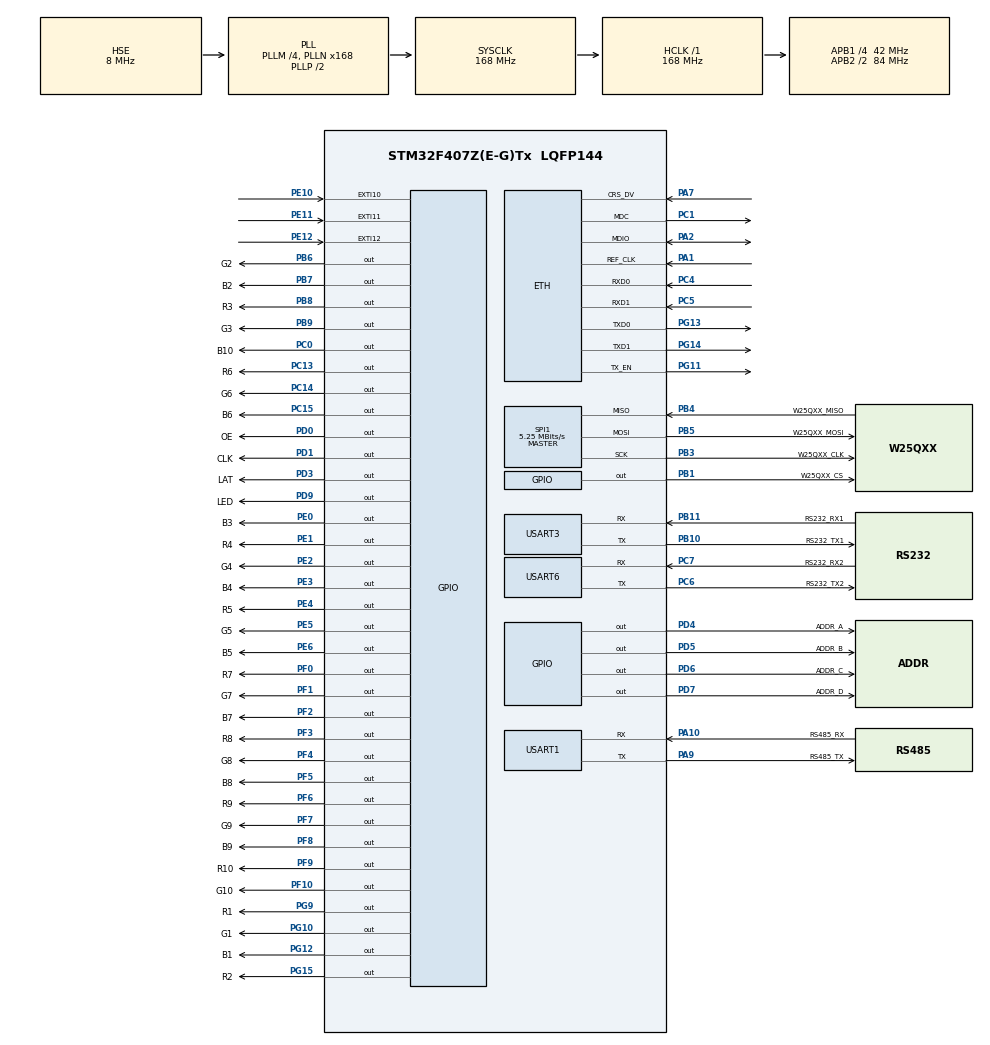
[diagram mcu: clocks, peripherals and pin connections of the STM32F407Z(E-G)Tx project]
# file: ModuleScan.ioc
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Dma.Request0=USART1_RX
Dma.Request1=USART3_RX
Dma.Request2=USART6_RX
Dma.Request3=SPI1_RX
Dma.Request4=SPI1_TX
Dma.SPI1_RX.3.Direction=DMA_PERIPH_TO_MEMORY
Dma.SPI1_RX.3.FIFOMode=DMA_FIFOMODE_DISABLE
Dma.SPI1_RX.3.Instance=DMA2_Stream0
Dma.SPI1_RX.3.MemDataAlignment=DMA_MDATAALIGN_BYTE
Dma.SPI1_RX.3.MemInc=DMA_MINC_ENABLE
Dma.SPI1_RX.3.Mode=DMA_NORMAL
Dma.SPI1_RX.3.PeriphDataAlignment=DMA_PDATAALIGN_BYTE
Dma.SPI1_RX.3.PeriphInc=DMA_PINC_DISABLE
Dma.SPI1_RX.3.Priority=DMA_PRIORITY_LOW
Dma.SPI1_TX.4.Direction=DMA_MEMORY_TO_PERIPH
Dma.SPI1_TX.4.FIFOMode=DMA_FIFOMODE_DISABLE
Dma.SPI1_TX.4.Instance=DMA2_Stream3
Dma.SPI1_TX.4.MemDataAlignment=DMA_MDATAALIGN_BYTE
Dma.SPI1_TX.4.MemInc=DMA_MINC_ENABLE
Dma.SPI1_TX.4.Mode=DMA_NORMAL
Dma.SPI1_TX.4.PeriphDataAlignment=DMA_PDATAALIGN_BYTE
Dma.SPI1_TX.4.PeriphInc=DMA_PINC_DISABLE
Dma.SPI1_TX.4.Priority=DMA_PRIORITY_LOW
Dma.USART1_RX.0.Direction=DMA_PERIPH_TO_MEMORY
Dma.USART1_RX.0.FIFOMode=DMA_FIFOMODE_DISABLE
Dma.USART1_RX.0.Instance=DMA2_Stream2
Dma.USART1_RX.0.MemDataAlignment=DMA_MDATAALIGN_BYTE
Dma.USART1_RX.0.MemInc=DMA_MINC_ENABLE
Dma.USART1_RX.0.Mode=DMA_CIRCULAR
Dma.USART1_RX.0.PeriphDataAlignment=DMA_PDATAALIGN_BYTE
Dma.USART1_RX.0.PeriphInc=DMA_PINC_DISABLE
Dma.USART1_RX.0.Priority=DMA_PRIORITY_LOW
Dma.USART3_RX.1.Direction=DMA_PERIPH_TO_MEMORY
Dma.USART3_RX.1.FIFOMode=DMA_FIFOMODE_DISABLE
Dma.USART3_RX.1.Instance=DMA1_Stream1
Dma.USART3_RX.1.MemDataAlignment=DMA_MDATAALIGN_BYTE
Dma.USART3_RX.1.MemInc=DMA_MINC_ENABLE
Dma.USART3_RX.1.Mode=DMA_CIRCULAR
Dma.USART3_RX.1.PeriphDataAlignment=DMA_PDATAALIGN_BYTE
Dma.USART3_RX.1.PeriphInc=DMA_PINC_DISABLE
Dma.USART3_RX.1.Priority=DMA_PRIORITY_LOW
Dma.USART6_RX.2.Direction=DMA_PERIPH_TO_MEMORY
Dma.USART6_RX.2.FIFOMode=DMA_FIFOMODE_DISABLE
Dma.USART6_RX.2.Instance=DMA2_Stream1
Dma.USART6_RX.2.MemDataAlignment=DMA_MDATAALIGN_BYTE
Dma.USART6_RX.2.MemInc=DMA_MINC_ENABLE
Dma.USART6_RX.2.Mode=DMA_CIRCULAR
Dma.USART6_RX.2.PeriphDataAlignment=DMA_PDATAALIGN_BYTE
Dma.USART6_RX.2.PeriphInc=DMA_PINC_DISABLE
Dma.USART6_RX.2.Priority=DMA_PRIORITY_LOW
ETH.MediaInterface=HAL_ETH_RMII_MODE
FREERTOS.Tasks01=initTask,24,256,InitailizeTask,Default,NULL,Dynamic,NULL,NULL
LWIP.BSP.number=1
LWIP.GATEWAY_ADDRESS=192.168.114.001
LWIP.IP_ADDRESS=192.168.114.200
LWIP.LWIP_DHCP=0
LWIP.LWIP_TCPIP_TIMEOUT=1
LWIP.LWIP_TCP_KEEPALIVE=1
LWIP.MEM_SIZE=10*1024
LWIP.NETMASK_ADDRESS=255.255.255.000
LWIP.Version=v2.1.2_Cube
LWIP0.BSP.STBoard=false
LWIP0.BSP.api=BSP_COMPONENT_DRIVER
LWIP0.BSP.component=DP83848
LWIP0.BSP.instance=DP83848
LWIP0.BSP.name=Driver_PHY
LWIP0.BSP.semaphore=S_DP83848
LWIP0.BSP.solution=DP83848
Mcu.Family=STM32F4
Mcu.Name=STM32F407Z(E-G)Tx
Mcu.Package=LQFP144
NVIC.DMA1_Stream1_IRQn=true\:5\:0\:false\:false\:true\:true\:false\:true\:true
NVIC.DMA2_Stream0_IRQn=true\:5\:0\:false\:false\:true\:true\:false\:true\:true
NVIC.DMA2_Stream1_IRQn=true\:5\:0\:false\:false\:true\:true\:false\:true\:true
NVIC.DMA2_Stream2_IRQn=true\:5\:0\:false\:false\:true\:true\:false\:true\:true
NVIC.DMA2_Stream3_IRQn=true\:5\:0\:false\:false\:true\:true\:false\:true\:true
NVIC.ETH_IRQn=true\:5\:0\:false\:false\:true\:true\:false\:true\:true
NVIC.EXTI15_10_IRQn=true\:5\:0\:true\:false\:true\:true\:true\:true\:true
NVIC.PriorityGroup=NVIC_PRIORITYGROUP_4
NVIC.SPI1_IRQn=true\:5\:0\:false\:false\:true\:true\:true\:true\:true
NVIC.TIM3_IRQn=true\:7\:0\:true\:false\:true\:true\:true\:true\:true
NVIC.TIM4_IRQn=true\:6\:0\:true\:false\:true\:true\:true\:true\:true
NVIC.TIM7_IRQn=true\:15\:0\:false\:false\:true\:false\:false\:true\:true
NVIC.TimeBase=TIM7_IRQn
NVIC.TimeBaseIP=TIM7
NVIC.USART1_IRQn=true\:5\:0\:false\:false\:true\:true\:true\:true\:true
NVIC.USART3_IRQn=true\:5\:0\:false\:false\:true\:true\:true\:true\:true
NVIC.USART6_IRQn=true\:5\:0\:false\:false\:true\:true\:true\:true\:true
PA1.Mode=RMII
PA1.Signal=ETH_REF_CLK
PA10.GPIO_Label=RS485_RX
PA10.Mode=Asynchronous
PA10.Signal=USART1_RX
PA13.Mode=Serial_Wire
PA13.Signal=SYS_JTMS-SWDIO
PA14.Mode=Serial_Wire
PA14.Signal=SYS_JTCK-SWCLK
PA2.Mode=RMII
PA2.Signal=ETH_MDIO
PA7.Mode=RMII
PA7.Signal=ETH_CRS_DV
PA9.GPIO_Label=RS485_TX
PA9.Mode=Asynchronous
PA9.Signal=USART1_TX
PB1.GPIO_Label=W25QXX_CS
PB1.Signal=GPIO_Output
PB10.GPIO_Label=RS232_TX1
PB10.Mode=Asynchronous
PB10.Signal=USART3_TX
PB11.GPIO_Label=RS232_RX1
PB11.Mode=Asynchronous
PB11.Signal=USART3_RX
PB3.GPIO_Label=W25QXX_CLK
PB3.Mode=Full_Duplex_Master
PB3.Signal=SPI1_SCK
PB4.GPIO_Label=W25QXX_MISO
PB4.Mode=Full_Duplex_Master
PB4.Signal=SPI1_MISO
PB5.GPIO_Label=W25QXX_MOSI
PB5.Mode=Full_Duplex_Master
PB5.Signal=SPI1_MOSI
PB6.GPIO_Label=G2
PB6.Signal=GPIO_Output
PB7.GPIO_Label=B2
PB7.Signal=GPIO_Output
PB8.GPIO_Label=R3
PB8.Signal=GPIO_Output
PB9.GPIO_Label=G3
PB9.Signal=GPIO_Output
PC0.GPIO_Label=B10
PC0.Signal=GPIO_Output
PC1.Mode=RMII
PC1.Signal=ETH_MDC
PC13-ANTI_TAMP.GPIO_Label=R6
PC13-ANTI_TAMP.Signal=GPIO_Output
PC14-OSC32_IN.GPIO_Label=G6
PC14-OSC32_IN.Signal=GPIO_Output
PC15-OSC32_OUT.GPIO_Label=B6
PC15-OSC32_OUT.Signal=GPIO_Output
PC4.Mode=RMII
PC4.Signal=ETH_RXD0
PC5.Mode=RMII
PC5.Signal=ETH_RXD1
PC6.GPIO_Label=RS232_TX2
PC6.Mode=Asynchronous
PC6.Signal=USART6_TX
PC7.GPIO_Label=RS232_RX2
PC7.Mode=Asynchronous
PC7.Signal=USART6_RX
PD0.GPIO_Label=OE
PD0.Signal=GPIO_Output
PD1.GPIO_Label=CLK
PD1.Signal=GPIO_Output
PD3.GPIO_Label=LAT
PD3.Signal=GPIO_Output
PD4.GPIO_Label=ADDR_A
PD4.Signal=GPIO_Output
PD5.GPIO_Label=ADDR_B
PD5.Signal=GPIO_Output
PD6.GPIO_Label=ADDR_C
PD6.Signal=GPIO_Output
PD7.GPIO_Label=ADDR_D
PD7.Signal=GPIO_Output
PD9.GPIO_Label=LED
PD9.Signal=GPIO_Output
PE0.GPIO_Label=B3
PE0.Signal=GPIO_Output
PE1.GPIO_Label=R4
PE1.Signal=GPIO_Output
PE10.GPIO_ModeDefaultEXTI=GPIO_MODE_IT_FALLING
PE10.GPIO_PuPd=GPIO_PULLUP
PE10.Signal=GPXTI10
PE11.GPIO_ModeDefaultEXTI=GPIO_MODE_IT_FALLING
PE11.GPIO_PuPd=GPIO_PULLUP
PE11.Signal=GPXTI11
PE12.GPIO_ModeDefaultEXTI=GPIO_MODE_IT_FALLING
PE12.GPIO_PuPd=GPIO_PULLUP
PE12.Signal=GPXTI12
PE2.GPIO_Label=G4
PE2.Signal=GPIO_Output
PE3.GPIO_Label=B4
PE3.Signal=GPIO_Output
PE4.GPIO_Label=R5
PE4.Signal=GPIO_Output
PE5.GPIO_Label=G5
PE5.Signal=GPIO_Output
PE6.GPIO_Label=B5
PE6.Signal=GPIO_Output
PF0.GPIO_Label=R7
PF0.Signal=GPIO_Output
PF1.GPIO_Label=G7
PF1.Signal=GPIO_Output
PF10.GPIO_Label=G10
PF10.Signal=GPIO_Output
PF2.GPIO_Label=B7
PF2.Signal=GPIO_Output
PF3.GPIO_Label=R8
PF3.Signal=GPIO_Output
PF4.GPIO_Label=G8
PF4.Signal=GPIO_Output
PF5.GPIO_Label=B8
PF5.Signal=GPIO_Output
PF6.GPIO_Label=R9
PF6.Signal=GPIO_Output
PF7.GPIO_Label=G9
PF7.Signal=GPIO_Output
PF8.GPIO_Label=B9
PF8.Signal=GPIO_Output
PF9.GPIO_Label=R10
PF9.Signal=GPIO_Output
PG10.GPIO_Label=G1
PG10.Signal=GPIO_Output
PG11.Mode=RMII
PG11.Signal=ETH_TX_EN
PG12.GPIO_Label=B1
PG12.Signal=GPIO_Output
PG13.Mode=RMII
PG13.Signal=ETH_TXD0
PG14.Mode=RMII
PG14.Signal=ETH_TXD1
PG15.GPIO_Label=R2
PG15.Signal=GPIO_Output
PG9.GPIO_Label=R1
PG9.Signal=GPIO_Output
PH0-OSC_IN.Mode=HSE-External-Oscillator
PH0-OSC_IN.Signal=RCC_OSC_IN
PH1-OSC_OUT.Mode=HSE-External-Oscillator
PH1-OSC_OUT.Signal=RCC_OSC_OUT
ProjectManager.HeapSize=0x200
ProjectManager.StackSize=0x080
ProjectManager.TargetToolchain=Makefile
RCC.48MHZClocksFreq_Value=84000000
RCC.AHBFreq_Value=168000000
RCC.APB1CLKDivider=RCC_HCLK_DIV4
RCC.APB1Freq_Value=42000000
RCC.APB1TimFreq_Value=84000000
RCC.APB2CLKDivider=RCC_HCLK_DIV2
RCC.APB2Freq_Value=84000000
RCC.APB2TimFreq_Value=168000000
RCC.CortexFreq_Value=168000000
RCC.HCLKFreq_Value=168000000
RCC.HSE_VALUE=8000000
RCC.HSI_VALUE=16000000
RCC.LSE_VALUE=32768
RCC.PLLM=4
RCC.PLLN=168
RCC.PLLSourceVirtual=RCC_PLLSOURCE_HSE
RCC.SYSCLKFreq_VALUE=168000000
RCC.SYSCLKSource=RCC_SYSCLKSOURCE_PLLCLK
RCC.VCOOutputFreq_Value=336000000
SPI1.BaudRatePrescaler=SPI_BAUDRATEPRESCALER_16
SPI1.CalculateBaudRate=5.25 MBits/s
SPI1.Direction=SPI_DIRECTION_2LINES
SPI1.Mode=SPI_MODE_MASTER
SPI1.VirtualType=VM_MASTER
TIM3.AutoReloadPreload=TIM_AUTORELOAD_PRELOAD_ENABLE
TIM3.Period=1000-1
TIM3.Prescaler=84-1
TIM4.AutoReloadPreload=TIM_AUTORELOAD_PRELOAD_ENABLE
TIM4.Period=10-1
TIM4.Prescaler=84-1
USART1.VirtualMode=VM_ASYNC
USART3.VirtualMode=VM_ASYNC
USART6.VirtualMode=VM_ASYNC
VP_FREERTOS_VS_CMSIS_V2.Mode=CMSIS_V2
VP_LWIP_VS_Enabled.Mode=Enabled
VP_SYS_VS_tim7.Mode=TIM7
VP_TIM3_VS_ClockSourceINT.Mode=Internal
VP_TIM4_VS_ClockSourceINT.Mode=Internal
board=custom

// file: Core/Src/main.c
/* USER CODE BEGIN Header */
/**
 ******************************************************************************
 * @file           : main.c
 * @brief          : Main program body
 ******************************************************************************
 * @attention
 *
 * Copyright (c) 2025 STMicroelectronics.
 * All rights reserved.
 *
 * This software is licensed under terms that can be found in the LICENSE file
 * in the root directory of this software component.
 * If no LICENSE file comes with this software, it is provided AS-IS.
 *
 ******************************************************************************
 */
/* USER CODE END Header */
#include "main.h"
#include "cmsis_os.h"
#include "dma.h"
#include "lwip.h"
#include "spi.h"
#include "tim.h"
#include "usart.h"
#include "gpio.h"

/* USER CODE BEGIN Includes */
#include "hub75.h"
#include "display.h"
/* USER CODE END Includes */

void SystemClock_Config(void);
void MX_FREERTOS_Init(void);

int main(void)
{

    /* MCU Configuration--------------------------------------------------------*/

    /* Reset of all peripherals, Initializes the Flash interface and the Systick. */
    HAL_Init();

    /* Configure the system clock */
    SystemClock_Config();

    /* Initialize all configured peripherals */
    MX_GPIO_Init();
    MX_DMA_Init();
    MX_TIM3_Init();
    MX_TIM4_Init();
    MX_USART1_UART_Init();
    MX_USART3_UART_Init();
    MX_USART6_UART_Init();
    MX_SPI1_Init();

    /* Init scheduler */
    osKernelInitialize(); /* Call init function for freertos objects (in cmsis_os2.c) */
    MX_FREERTOS_Init();

    /* Start scheduler */
    osKernelStart();

    /* We should never get here as control is now taken by the scheduler */

    /* Infinite loop */
    while (1) {

    }
}

void SystemClock_Config(void)
{
    RCC_OscInitTypeDef RCC_OscInitStruct = {0};
    RCC_ClkInitTypeDef RCC_ClkInitStruct = {0};

    /** Configure the main internal regulator output voltage
     */
    __HAL_RCC_PWR_CLK_ENABLE();
    __HAL_PWR_VOLTAGESCALING_CONFIG(PWR_REGULATOR_VOLTAGE_SCALE1);

    /** Initializes the RCC Oscillators according to the specified parameters
     * in the RCC_OscInitTypeDef structure.
     */
    RCC_OscInitStruct.OscillatorType = RCC_OSCILLATORTYPE_HSE;
    RCC_OscInitStruct.HSEState       = RCC_HSE_ON;
    RCC_OscInitStruct.PLL.PLLState   = RCC_PLL_ON;
    RCC_OscInitStruct.PLL.PLLSource  = RCC_PLLSOURCE_HSE;
    RCC_OscInitStruct.PLL.PLLM       = 4;
    RCC_OscInitStruct.PLL.PLLN       = 168;
    RCC_OscInitStruct.PLL.PLLP       = RCC_PLLP_DIV2;
    RCC_OscInitStruct.PLL.PLLQ       = 4;
    if (HAL_RCC_OscConfig(&RCC_OscInitStruct) != HAL_OK) {
        Error_Handler();
    }

    /** Initializes the CPU, AHB and APB buses clocks
     */
    RCC_ClkInitStruct.ClockType      = RCC_CLOCKTYPE_HCLK | RCC_CLOCKTYPE_SYSCLK | RCC_CLOCKTYPE_PCLK1 | RCC_CLOCKTYPE_PCLK2;
    RCC_ClkInitStruct.SYSCLKSource   = RCC_SYSCLKSOURCE_PLLCLK;
    RCC_ClkInitStruct.AHBCLKDivider  = RCC_SYSCLK_DIV1;
    RCC_ClkInitStruct.APB1CLKDivider = RCC_HCLK_DIV4;
    RCC_ClkInitStruct.APB2CLKDivider = RCC_HCLK_DIV2;

    if (HAL_RCC_ClockConfig(&RCC_ClkInitStruct, FLASH_LATENCY_5) != HAL_OK) {
        Error_Handler();
    }
}

void HAL_TIM_PeriodElapsedCallback(TIM_HandleTypeDef *htim)
{
    /* USER CODE BEGIN Callback 0 */
    if (htim->Instance == TIM3) {
        send_hub75_buff();

    } else if (htim->Instance == TIM4) {
        pwm_light_handle();
    }
    /* USER CODE END Callback 0 */
    if (htim->Instance == TIM7) {
        HAL_IncTick();
    }
}

void Error_Handler(void)
{
    __disable_irq();
    while (1) {
    }
}

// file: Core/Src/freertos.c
/* USER CODE BEGIN Header */
/**
 ******************************************************************************
 * File Name          : freertos.c
 * Description        : Code for freertos applications
 ******************************************************************************
 * @attention
 *
 * Copyright (c) 2025 STMicroelectronics.
 * All rights reserved.
 *
 * This software is licensed under terms that can be found in the LICENSE file
 * in the root directory of this software component.
 * If no LICENSE file comes with this software, it is provided AS-IS.
 *
 ******************************************************************************
 */
/* USER CODE END Header */

#include "FreeRTOS.h"
#include "task.h"
#include "main.h"
#include "cmsis_os.h"

/* USER CODE BEGIN Includes */
#include "tim.h"
#include "spi.h"
#include "w25qxx.h"
#include "hub75.h"
#include "render.h"
/* USER CODE END Includes */

/* USER CODE BEGIN PD */
#define IPADDR 8 * 1024 * 1024 - 20
/* USER CODE END PD */

/* USER CODE BEGIN Variables */
osThreadId_t HalfSecTaskHandle;
const osThreadAttr_t HalfSecTask_attributes = {
    .name       = "HalfSecTask",
    .stack_size = 128 * 4,
    .priority   = (osPriority_t)osPriorityNormal,
};

osThreadId_t PointTestTaskHandle;
const osThreadAttr_t PointTestTask_attributes = {
    .name       = "PointTestTask",
    .stack_size = 1024 * 4,
    .priority   = (osPriority_t)osPriorityAboveNormal,
};

osThreadId_t RefreshTaskHandle;
const osThreadAttr_t RefreshTask_attributes = {
    .name       = "RefreshTask",
    .stack_size = 512 * 4,
    .priority   = (osPriority_t)osPriorityAboveNormal,
};
/* USER CODE END Variables */
/* Definitions for initTask */
osThreadId_t initTaskHandle;
const osThreadAttr_t initTask_attributes = {
    .name       = "initTask",
    .stack_size = 256 * 4,
    .priority   = (osPriority_t)osPriorityNormal,
};

/* USER CODE BEGIN FunctionPrototypes */
void HalfSecTask(void *argument);
void PointTestTask(void *argument);
void RefreshTask(void *argument);
/* USER CODE END FunctionPrototypes */

void InitailizeTask(void *argument);

extern void MX_LWIP_Init(void);
void MX_FREERTOS_Init(void); /* (MISRA C 2004 rule 8.1) */

void MX_FREERTOS_Init(void)
{

    /* Create the thread(s) */
    /* creation of initTask */
    initTaskHandle = osThreadNew(InitailizeTask, NULL, &initTask_attributes);

}

void InitailizeTask(void *argument)
{
    /* init code for LWIP */
    MX_LWIP_Init();
    /* USER CODE BEGIN InitailizeTask */
    __HAL_DBGMCU_FREEZE_TIM3();
    __HAL_DBGMCU_FREEZE_TIM4();

    light_level = 1;
    init_hub75();
    HAL_TIM_Base_Start_IT(&htim3);
    HAL_TIM_Base_Start_IT(&htim4);

    HalfSecTaskHandle = osThreadNew(HalfSecTask, NULL, &HalfSecTask_attributes);
    // PointTestTaskHandle = osThreadNew(PointTestTask, NULL, &PointTestTask_attributes);
    RefreshTaskHandle = osThreadNew(RefreshTask, NULL, &RefreshTask_attributes);

    BSP_W25Qx_Init(&hw25q64, &hspi1);

    // BSP_W25Qx_Erase_Sector(&hw25q64, IPADDR);
    BSP_W25Qx_EraseWrite(&hw25q64, (uint8_t *)"192.168.114.200", IPADDR, 15);
    uint8_t ch_buff[128] = {0};
    BSP_W25Qx_ReadDMA(&hw25q64, ch_buff, IPADDR, 15);

    // RenderString(0, 0, (uint8_t *)"����", strlen("����"), green, font_32, font_ht);

    osThreadExit();
    /* Infinite loop */
    for (;;) {
        osDelay(1);
    }
    /* USER CODE END InitailizeTask */
}

/* USER CODE BEGIN Application */
void HalfSecTask(void *argument)
{
    for (;;) {
        HAL_GPIO_TogglePin(LED_GPIO_Port, LED_Pin);
        osDelay(500);
    }
}

void RefreshTask(void *argument)
{
    uint32_t refresh_flag = 0;

    for (;;) {
        refresh_flag = osThreadFlagsWait(0x01, osFlagsWaitAny, osWaitForever);
        if (refresh_flag)
            convert_pixelmap();
    }
}

void PointTestTask(void *argument)
{
    // HAL_TIM_Base_Stop_IT(&htim3);

    // pixel_map[32] = green;
    // convert_pixelmap();

    for (;;) {
        for (int i = 0; i < DISRAM_SIZE; i++) {
            pixel_map[i] = green;

            convert_pixelmap();
            osDelay(50);

            pixel_map[i] = black;
        }

        point_order_test(green, 1, 0);
        osDelay(500);
    }
}
/* USER CODE END Application */
